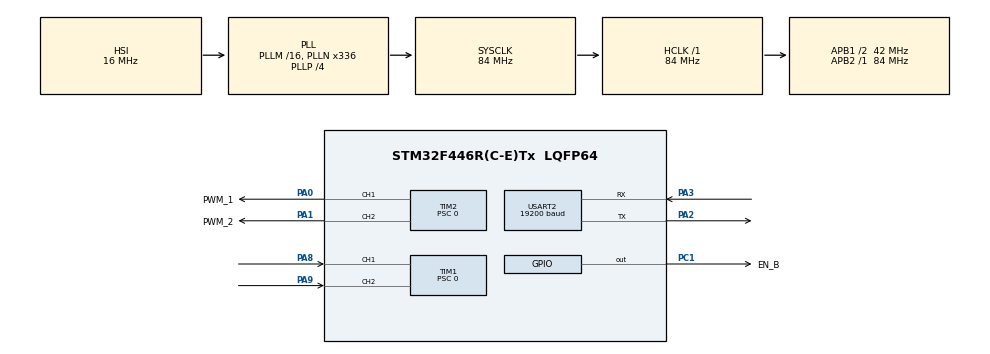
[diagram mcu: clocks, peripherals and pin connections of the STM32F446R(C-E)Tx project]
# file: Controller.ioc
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Mcu.Family=STM32F4
Mcu.Name=STM32F446R(C-E)Tx
Mcu.Package=LQFP64
NVIC.PriorityGroup=NVIC_PRIORITYGROUP_0
NVIC.TIM3_IRQn=true\:0\:0\:false\:false\:true\:true\:true
PA0-WKUP.GPIO_Label=PWM_1
PA0-WKUP.Signal=S_TIM2_CH1_ETR
PA1.GPIO_Label=PWM_2
PA1.Signal=S_TIM2_CH2
PA13.GPIO_Label=TMS
PA13.Mode=Serial_Wire
PA13.Signal=SYS_JTMS-SWDIO
PA14.GPIO_Label=TCK
PA14.Mode=Serial_Wire
PA14.Signal=SYS_JTCK-SWCLK
PA2.Mode=Asynchronous
PA2.Signal=USART2_TX
PA3.Mode=Asynchronous
PA3.Signal=USART2_RX
PA8.Signal=S_TIM1_CH1
PA9.Signal=S_TIM1_CH2
PC1.GPIO_Label=EN_B
PC1.Signal=GPIO_Output
PC14-OSC32_IN.Mode=LSE-External-Oscillator
PC14-OSC32_IN.Signal=RCC_OSC32_IN
PC15-OSC32_OUT.Mode=LSE-External-Oscillator
PC15-OSC32_OUT.Signal=RCC_OSC32_OUT
PH0-OSC_IN.Mode=HSE-External-Oscillator
PH0-OSC_IN.Signal=RCC_OSC_IN
PH1-OSC_OUT.Mode=HSE-External-Oscillator
PH1-OSC_OUT.Signal=RCC_OSC_OUT
ProjectManager.HeapSize=0x200
ProjectManager.StackSize=0x400
ProjectManager.TargetToolchain=STM32CubeIDE
RCC.48MHZClocksFreq_Value=84000000
RCC.AHBFreq_Value=84000000
RCC.APB1CLKDivider=RCC_HCLK_DIV2
RCC.APB1Freq_Value=42000000
RCC.APB1TimFreq_Value=84000000
RCC.APB2Freq_Value=84000000
RCC.APB2TimFreq_Value=84000000
RCC.CortexFreq_Value=84000000
RCC.FLatency-AdvancedSettings=FLASH_LATENCY_2
RCC.HCLKFreq_Value=84000000
RCC.HSE_VALUE=8000000
RCC.HSI_VALUE=16000000
RCC.PLLN=336
RCC.PLLP=RCC_PLLP_DIV4
RCC.SYSCLKFreq_VALUE=84000000
RCC.SYSCLKSource=RCC_SYSCLKSOURCE_PLLCLK
RCC.USBFreq_Value=168000000
RCC.VCOOutputFreq_Value=336000000
SH.S_TIM1_CH1.0=TIM1_CH1,Encoder_Interface
SH.S_TIM1_CH2.0=TIM1_CH2,Encoder_Interface
SH.S_TIM2_CH1_ETR.0=TIM2_CH1,PWM Generation1 CH1
SH.S_TIM2_CH2.0=TIM2_CH2,PWM Generation2 CH2
TIM1.EncoderMode=TIM_ENCODERMODE_TI12
TIM1.Period=4199
TIM1.Prescaler=0
TIM1.TIM_MasterOutputTrigger=TIM_TRGO_UPDATE
TIM2.Channel-PWM\ Generation1\ CH1=TIM_CHANNEL_1
TIM2.Channel-PWM\ Generation2\ CH2=TIM_CHANNEL_2
TIM2.Period=4199
TIM2.Prescaler=0
TIM2.Pulse-PWM\ Generation1\ CH1=0
TIM3.Period=8299
TIM3.Prescaler=9
USART2.BaudRate=19200
USART2.Mode=MODE_TX
USART2.VirtualMode=VM_ASYNC
VP_TIM3_VS_ClockSourceINT.Mode=Internal
board=NUCLEO-F446RE

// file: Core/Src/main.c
/* USER CODE BEGIN Header */
/**
 ******************************************************************************
 * @file           : main.c
 * @brief          : Main program body
 ******************************************************************************
 * @attention
 *
 * <h2><center>&copy; Copyright (c) 2020 STMicroelectronics.
 * All rights reserved.</center></h2>
 *
 * This software component is licensed by ST under BSD 3-Clause license,
 * the "License"; You may not use this file except in compliance with the
 * License. You may obtain a copy of the License at:
 *                        opensource.org/licenses/BSD-3-Clause
 *
 ******************************************************************************
 */
/* USER CODE END Header */

#include "main.h"
#include "tim.h"
#include "usart.h"
#include "gpio.h"

/* USER CODE BEGIN Includes */
#include <stdio.h>
#include <stdlib.h>

#include "stm32f4xx_hal_uart.h"

/* USER CODE END Includes */

void SystemClock_Config(void);

int main(void)
{

  /* MCU Configuration--------------------------------------------------------*/

  /* Reset of all peripherals, Initializes the Flash interface and the Systick. */
  HAL_Init();

  /* Configure the system clock */
  SystemClock_Config();

  /* Initialize all configured peripherals */
  MX_GPIO_Init();
  MX_USART2_UART_Init();
  MX_TIM2_Init();
  MX_TIM1_Init();
  MX_TIM3_Init();
  /* USER CODE BEGIN 2 */
	startSystem();
  /* USER CODE END 2 */

  /* Infinite loop */
	while (1) {

	}
}

void SystemClock_Config(void)
{
  RCC_OscInitTypeDef RCC_OscInitStruct = {0};
  RCC_ClkInitTypeDef RCC_ClkInitStruct = {0};

  /** Configure the main internal regulator output voltage
  */
  __HAL_RCC_PWR_CLK_ENABLE();
  __HAL_PWR_VOLTAGESCALING_CONFIG(PWR_REGULATOR_VOLTAGE_SCALE3);
  /** Initializes the CPU, AHB and APB busses clocks
  */
  RCC_OscInitStruct.OscillatorType = RCC_OSCILLATORTYPE_HSI;
  RCC_OscInitStruct.HSIState = RCC_HSI_ON;
  RCC_OscInitStruct.HSICalibrationValue = RCC_HSICALIBRATION_DEFAULT;
  RCC_OscInitStruct.PLL.PLLState = RCC_PLL_ON;
  RCC_OscInitStruct.PLL.PLLSource = RCC_PLLSOURCE_HSI;
  RCC_OscInitStruct.PLL.PLLM = 16;
  RCC_OscInitStruct.PLL.PLLN = 336;
  RCC_OscInitStruct.PLL.PLLP = RCC_PLLP_DIV4;
  RCC_OscInitStruct.PLL.PLLQ = 2;
  RCC_OscInitStruct.PLL.PLLR = 2;
  if (HAL_RCC_OscConfig(&RCC_OscInitStruct) != HAL_OK)
  {
    Error_Handler();
  }
  /** Initializes the CPU, AHB and APB busses clocks
  */
  RCC_ClkInitStruct.ClockType = RCC_CLOCKTYPE_HCLK|RCC_CLOCKTYPE_SYSCLK
                              |RCC_CLOCKTYPE_PCLK1|RCC_CLOCKTYPE_PCLK2;
  RCC_ClkInitStruct.SYSCLKSource = RCC_SYSCLKSOURCE_PLLCLK;
  RCC_ClkInitStruct.AHBCLKDivider = RCC_SYSCLK_DIV1;
  RCC_ClkInitStruct.APB1CLKDivider = RCC_HCLK_DIV2;
  RCC_ClkInitStruct.APB2CLKDivider = RCC_HCLK_DIV1;

  if (HAL_RCC_ClockConfig(&RCC_ClkInitStruct, FLASH_LATENCY_2) != HAL_OK)
  {
    Error_Handler();
  }
}

/* USER CODE BEGIN 4 */
void startSystem(void) {
	encoder = 0;
	last_encoder = 0;
	pos = START_POSITION;
	diff = 0;
	extra = 0;
	count = 0;
	setReference(LAPS);
	HAL_GPIO_WritePin(GPIOC, GPIO_PIN_1, GPIO_PIN_SET); //ACTIVA ENABLE
	HAL_TIM_PWM_Start(&htim2, TIM_CHANNEL_1);
	HAL_TIM_PWM_Start(&htim2, TIM_CHANNEL_2);
	HAL_TIM_Encoder_Start(&htim1, TIM_CHANNEL_ALL);
	direction= POSITIVE;

	Kp =  0.5;

	HAL_TIM_Base_Start_IT(&htim3);

}

void setVoltage(float voltage) {
//	VOLTAGE = MAX_VOLTAGE*(PERIOD/MAX_PERIOD) FORMULA

	uint32_t period;
	//PERIOD VALUES BETWEEN 0 AND 4199
	direction = POSITIVE;
	if(voltage<0){
		voltage= voltage*-1;
		direction = NEGATIVE;
	}
	period = (uint32_t) (ENCODER_TOTAL_POS *voltage) / MAX_VOLTAGE;
	if (voltage)
		period = period - 1;

	if (direction == POSITIVE) {
		__HAL_TIM_SET_COMPARE(&htim2, TIM_CHANNEL_1, period);
		__HAL_TIM_SET_COMPARE(&htim2, TIM_CHANNEL_2, 0);
	} else {
		__HAL_TIM_SET_COMPARE(&htim2, TIM_CHANNEL_1, 0);
		__HAL_TIM_SET_COMPARE(&htim2, TIM_CHANNEL_2, period);
	}
}

void HAL_TIM_PeriodElapsedCallback(TIM_HandleTypeDef *htim) {
	if (htim == &htim3) { //SALTA CADA MILISEGUNDO
		controller();
		if(count == FINISH_TIME)
			HAL_TIM_Base_Stop_IT(&htim3);
		count++;
	}

}
void controller(void) {
	readEncoder();
	int32_t diff2 = reference - pos;
	uint8_t aux[10];
	int32_t represent = pos - START_POSITION;
	sprintf(aux, "%9d", (int) represent);
	aux[9] = '\n';

 	HAL_UART_Transmit(&huart2, aux, 10, HAL_MAX_DELAY);

	float voltage = diff2*Kp ;

	setVoltage(voltage);
}

void setReference(uint32_t vueltas) {
	reference = START_POSITION + vueltas * REDUCTER;
}

void readEncoder(void) {
	encoder = htim1.Instance->CNT;
	diff = encoder - last_encoder;//+ extra;
	int32_t diff_abs;
	diff_abs = diff;
	if(diff<0)
		diff_abs = diff*-1;
	if(diff_abs < ENCODER_THRESHOLE){
		pos += diff;
	}
	last_encoder = encoder;
}

/* USER CODE END 4 */

void Error_Handler(void)
{
}

/************************ (C) COPYRIGHT STMicroelectronics *****END OF FILE****/
